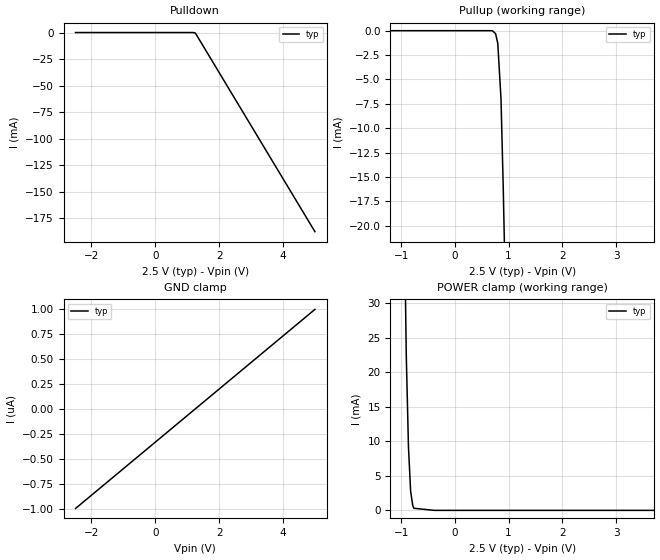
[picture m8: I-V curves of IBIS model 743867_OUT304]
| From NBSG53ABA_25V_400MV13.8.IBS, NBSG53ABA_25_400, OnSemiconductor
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| COPYRIGHT(C) MENTOR GRAPHICS CORPORATION 2002 ALL
| RIGHTS RESERVED. THIS WORK CONTAINS PROPRIETARY
| INFORMATION WHICH IS THE PROPERTY OF MENTOR GRAPHICS
| CORPORATION OR ITS LICENSORS. USE OF THESE MATERIALS
| IS SUBJECT TO THE TERMS BELOW.
| USE: YOU MAY USE IBIS MODELS SOLELY FOR DEVELOPING
| PRINTED CIRCUIT BOARD DESIGNS. NO OTHER USE OR
| DISTRIBUTION OF THESE MATERIALS IS PERMITTED.
| Model Application Version 1.89 2/18/99.
[Model] 743867_OUT304
Model_type Output_ECL
Vref=500.0mV
Rref=50.00ohms
Cref=0.000F
Vmeas=1.200V
C_comp 500.0fF NA NA
| variable typ   min   max
[Voltage Range] 2.500V NA NA
[POWER Clamp Reference] 2.500V NA NA
[Pullup Reference] 2.500V NA NA
[Pulldown Reference] 2.500V NA NA
[GND Clamp Reference] 0.000V NA NA
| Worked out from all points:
|   POWER clamp passes 1 mA (typ) near -0.79 V on its own axis
[GND Clamp]
-2.5V     -1uA       NA         NA
5V        1uA        NA         NA
[Pulldown]
-2.5V     0A         NA         NA
1.177V    0A         NA         NA
1.238V    -300uA     NA         NA
1.259V    -700uA     NA         NA
5V        -187.7mA   NA         NA
[Pullup]
-2.5V     0A         NA         NA
696mV     0A         NA         NA
757mV     -300uA     NA         NA
798mV     -1.3mA     NA         NA
858mV     -7mA       NA         NA
899mV     -16mA      NA         NA
5V        -1.093A    NA         NA
[POWER Clamp]
-2.5V     946.4mA    NA         NA
-905mV    22.6mA     NA         NA
-864mV    9.2mA      NA         NA
-824mV    2.8mA      NA         NA
-784mV    700uA      NA         NA
-763mV    300uA      NA         NA
-381.5mV  0A         NA         NA
5V        0A         NA         NA
[Ramp]
| variable typ min max
dV/dt_r 646.6m/30.00p NA NA
dV/dt_f 646.6m/30.00p NA NA
R_load = 50.00Ohms
